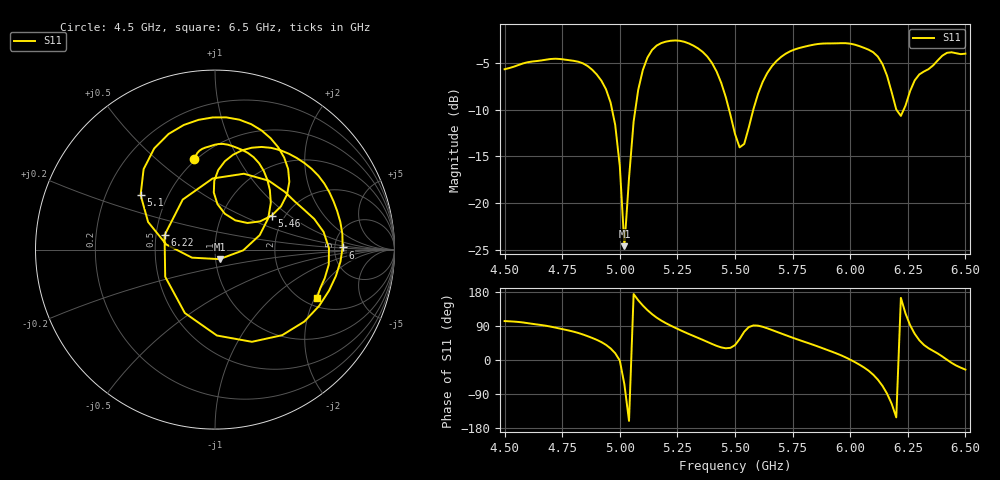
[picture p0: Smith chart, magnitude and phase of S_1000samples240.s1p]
! TOUCHSTONE file generated by CST MICROWAVE STUDIO
! Date and time: Thu Oct 27 11:56:33 2022
! Project name: L.cst
! Parameters = {Di=1.27; Epsilon_r=1.56; InnerDiameter=1.27; Length=2; Lf=10; Lg=60; OuterConductorThickness=0.2921; OuterDiameter=3.6; Wf=3; Wp=41.2; de=1.5; df=6.8; g=0.8; gx=0.499419; gy=2.15256; h=2.34; hf=1.524; px=12.1451; py=11.8589; w=9.7; wx=11.6457; wy=9.70632}
! Header version: 2018
! Port assignment regex: !\s*Touchstone port\s*([0-9]+)\s*=\s*(CST MWS port|CST DS port)\s*([0-9]+|Zmin|Zmax)\s*\(\"(.*)\"\)(\s*mode\s*([0-9]+))?.*
! Touchstone port assignment:
! Touchstone port 1 = CST MWS port 1 ("")
# GHz S DB R 50
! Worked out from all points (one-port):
!   101 points, 4.5 GHz to 6.5 GHz, reference 50 ohm
!   lowest |S11| = -24.6 dB at 5.02 GHz (marker M1), VSWR 1.13, Z = 52.3 - j5.58 ohm
!   |S11| at or under -10 dB: 4.966 GHz to 5.068 GHz (101.3 MHz wide, 2.02 % of centre); 5.474 GHz to 5.58 GHz (105.6 MHz wide, 1.91 % of centre); 6.2 GHz to 6.232 GHz (32.53 MHz wide, 0.523 % of centre)
!   S11 on the Smith chart (normalised r, x): 4.5 GHz: 0.49, +0.68; 5.1 GHz: 0.35, +0.29; 5.46 GHz: 1.72, +0.75; 6 GHz: 5.91, +0.29; 6.22 GHz: 0.56, +0.10; 6.5 GHz: 2.34, -2.08
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4.5  -5.70 102.8
4.76  -4.66 80.3
4.86  -5.35 62.9
4.94  -7.84 40.0
4.98  -11.64 17.9
5  -16.04 -1.4
5.02  -24.60 -64.6
5.06  -11.28 174.0
5.1  -5.78 143.7
5.16  -3.17 111.9
5.26  -2.66 79.4
5.38  -4.35 47.8
5.46  -8.68 30.9
5.5  -12.61 39.3
5.54  -13.68 74.6
5.6  -8.33 90.6
5.68  -4.82 74.7
5.76  -3.58 56.7
5.88  -2.95 31.1
6  -2.96 1.0
6.08  -3.61 -28.3
6.14  -5.14 -68.2
6.18  -8.15 -115.4
6.22  -10.68 164.1
6.26  -8.03 91.9
6.32  -5.94 39.7
6.4  -4.25 9.2
6.5  -4.03 -25.3
